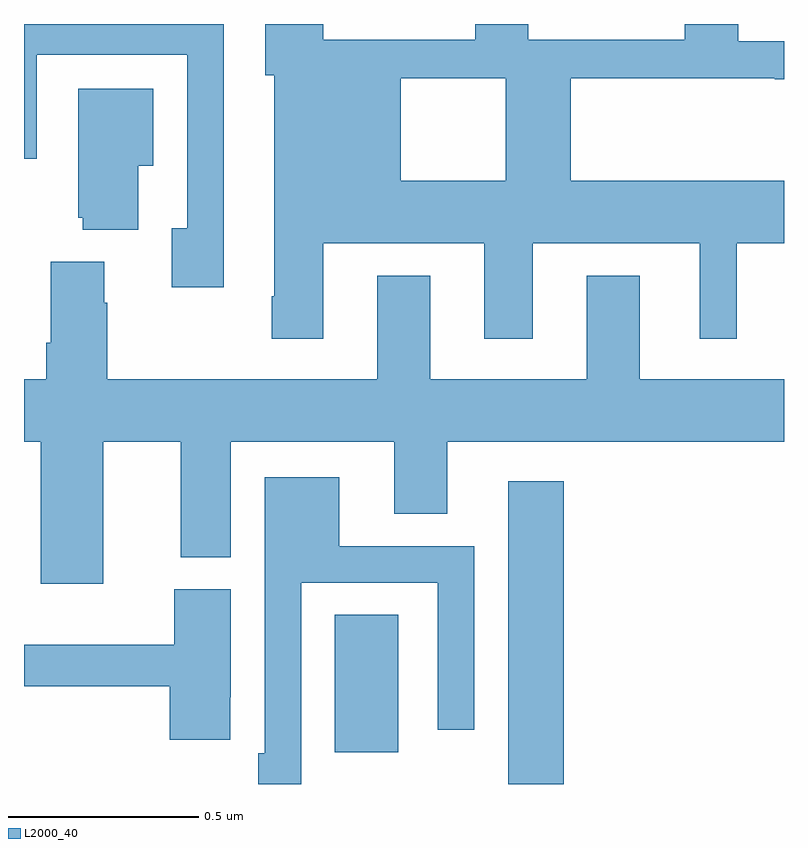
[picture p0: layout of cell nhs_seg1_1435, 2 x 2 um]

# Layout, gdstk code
import gdstk
lib = gdstk.Library(unit=1e-6, precision=1e-09)
def R(c, l, rs):  # rectangles x0, y0, x1, y1
    for r in rs: c.add(gdstk.rectangle(r[:2], r[2:], *l))
def P(c, l, *ps):  # polygons
    for p in ps: c.add(gdstk.Polygon(p, *l))
L2000_40 = (2000, 40)

nhs_seg1_1435 = lib.new_cell('nhs_seg1_1435')
R(nhs_seg1_1435, L2000_40, [(130.274,516.199,130.421,516.996), (129.818,516.282,129.985,516.644)])
P(nhs_seg1_1435, L2000_40, [(129.526,517.964),(129.525,517.964),(129.525,518.199),(129,518.199),(129,517.845),(129.033,517.845),(129.033,518.118),(129.429,518.118),(129.429,517.662),(129.389,517.662),(129.389,517.506),(129.526,517.506)],
  [(129.652,517.483),(129.652,517.371),(129.787,517.371),(129.787,517.622),(130.211,517.622),(130.211,517.371),(130.339,517.371),(130.339,517.622),(130.778,517.622),(130.778,517.371),(130.876,517.371),(130.876,517.622),(131,517.622),(131,517.786),(130.439,517.786),(130.439,518.056),(130.975,518.056),(130.975,518.054),(131,518.054),(131,518.154),(130.879,518.154),(130.879,518.199),(130.739,518.199),(130.739,518.157),(130.327,518.157),(130.327,518.199),(130.187,518.199),(130.187,518.157),(129.787,518.157),(129.787,518.199),(129.635,518.199),(129.635,518.064),(129.659,518.064),(129.659,517.786),(129.991,517.786),(129.991,518.056),(130.268,518.056),(130.268,517.786),(129.991,517.786),(129.659,517.786),(129.659,517.483)],
  [(129.301,517.826),(129.34,517.826),(129.34,518.029),(129.143,518.029),(129.143,517.689),(129.155,517.689),(129.155,517.658),(129.301,517.658)],
  [(129.208,517.1),(129.413,517.1),(129.413,516.796),(129.544,516.796),(129.544,517.1),(129.974,517.1),(129.974,516.91),(130.114,516.91),(130.114,517.1),(131,517.1),(131,517.264),(130.621,517.264),(130.621,517.537),(130.481,517.537),(130.481,517.264),(130.069,517.264),(130.069,517.537),(129.929,517.537),(129.929,517.264),(129.219,517.264),(129.219,517.466),(129.211,517.466),(129.211,517.573),(129.071,517.573),(129.071,517.36),(129.059,517.36),(129.059,517.264),(129,517.264),(129,517.1),(129.044,517.1),(129.044,516.726),(129.208,516.726)],
  [(129.729,516.729),(130.089,516.729),(130.089,516.342),(130.185,516.342),(130.185,516.825),(129.829,516.825),(129.829,517.006),(129.633,517.006),(129.633,516.28),(129.617,516.28),(129.617,516.199),(129.729,516.199)],
  [(129.543,516.427),(129.544,516.427),(129.544,516.711),(129.395,516.711),(129.395,516.565),(129,516.565),(129,516.456),(129.383,516.456),(129.383,516.315),(129.543,516.315)])

lib.write_gds('nhs_seg1_1435.gds')
